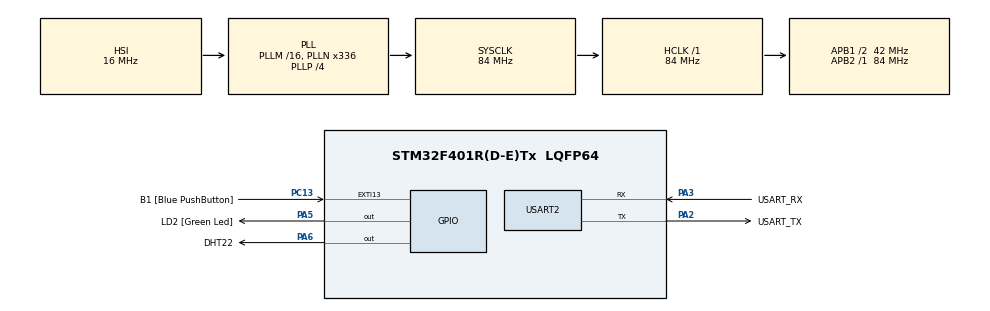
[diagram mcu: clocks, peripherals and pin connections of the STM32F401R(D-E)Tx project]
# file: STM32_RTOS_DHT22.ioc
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Dma.Request0=USART2_TX
Dma.USART2_TX.0.Direction=DMA_MEMORY_TO_PERIPH
Dma.USART2_TX.0.FIFOMode=DMA_FIFOMODE_DISABLE
Dma.USART2_TX.0.Instance=DMA1_Stream6
Dma.USART2_TX.0.MemDataAlignment=DMA_MDATAALIGN_BYTE
Dma.USART2_TX.0.MemInc=DMA_MINC_ENABLE
Dma.USART2_TX.0.Mode=DMA_NORMAL
Dma.USART2_TX.0.PeriphDataAlignment=DMA_PDATAALIGN_BYTE
Dma.USART2_TX.0.PeriphInc=DMA_PINC_DISABLE
Dma.USART2_TX.0.Priority=DMA_PRIORITY_LOW
FREERTOS.Tasks01=defaultTask,0,128,StartDefaultTask,Default,NULL,Dynamic,NULL,NULL
FREERTOS.configUSE_NEWLIB_REENTRANT=1
IWDG.Prescaler=IWDG_PRESCALER_32
IWDG.Reload=3000
Mcu.Family=STM32F4
Mcu.Name=STM32F401R(D-E)Tx
Mcu.Package=LQFP64
NVIC.DMA1_Stream6_IRQn=true\:5\:0\:false\:false\:true\:true\:false\:true\:true
NVIC.PriorityGroup=NVIC_PRIORITYGROUP_4
NVIC.TIM1_UP_TIM10_IRQn=true\:15\:0\:false\:false\:true\:false\:false\:true\:true
NVIC.TimeBase=TIM1_UP_TIM10_IRQn
NVIC.TimeBaseIP=TIM1
NVIC.USART2_IRQn=true\:5\:0\:false\:false\:true\:true\:true\:true\:true
PA13.GPIO_Label=TMS
PA13.Mode=Serial_Wire
PA13.Signal=SYS_JTMS-SWDIO
PA14.GPIO_Label=TCK
PA14.Mode=Serial_Wire
PA14.Signal=SYS_JTCK-SWCLK
PA2.GPIO_Label=USART_TX
PA2.GPIO_Mode=GPIO_MODE_AF_PP
PA2.GPIO_PuPd=GPIO_NOPULL
PA2.GPIO_Speed=GPIO_SPEED_FREQ_LOW
PA2.Mode=Asynchronous
PA2.Signal=USART2_TX
PA3.GPIO_Label=USART_RX
PA3.GPIO_Mode=GPIO_MODE_AF_PP
PA3.GPIO_PuPd=GPIO_NOPULL
PA3.GPIO_Speed=GPIO_SPEED_FREQ_LOW
PA3.Mode=Asynchronous
PA3.Signal=USART2_RX
PA5.GPIO_Label=LD2 [Green Led]
PA5.GPIO_Mode=GPIO_MODE_OUTPUT_PP
PA5.GPIO_PuPd=GPIO_NOPULL
PA5.GPIO_Speed=GPIO_SPEED_FREQ_LOW
PA5.Signal=GPIO_Output
PA6.GPIO_Label=DHT22
PA6.GPIO_Speed=GPIO_SPEED_FREQ_VERY_HIGH
PA6.PinState=GPIO_PIN_SET
PA6.Signal=GPIO_Output
PB3.GPIO_Label=SWO
PB3.Signal=SYS_JTDO-SWO
PC13-ANTI_TAMP.GPIO_Label=B1 [Blue PushButton]
PC13-ANTI_TAMP.GPIO_ModeDefaultEXTI=GPIO_MODE_IT_FALLING
PC13-ANTI_TAMP.GPIO_PuPd=GPIO_NOPULL
PC13-ANTI_TAMP.Signal=GPXTI13
PC14-OSC32_IN.Signal=RCC_OSC32_IN
PC15-OSC32_OUT.Signal=RCC_OSC32_OUT
PH0\ -\ OSC_IN.Signal=RCC_OSC_IN
PH1\ -\ OSC_OUT.Signal=RCC_OSC_OUT
ProjectManager.HeapSize=0x200
ProjectManager.StackSize=0x400
ProjectManager.TargetToolchain=STM32CubeIDE
RCC.AHBFreq_Value=84000000
RCC.APB1CLKDivider=RCC_HCLK_DIV2
RCC.APB1Freq_Value=42000000
RCC.APB1TimFreq_Value=84000000
RCC.APB2Freq_Value=84000000
RCC.APB2TimFreq_Value=84000000
RCC.CortexFreq_Value=84000000
RCC.HCLKFreq_Value=84000000
RCC.HSE_VALUE=8000000
RCC.HSI_VALUE=16000000
RCC.LSE_VALUE=32768
RCC.PLLN=336
RCC.PLLP=RCC_PLLP_DIV4
RCC.PLLQ=7
RCC.SYSCLKFreq_VALUE=84000000
RCC.SYSCLKSource=RCC_SYSCLKSOURCE_PLLCLK
RCC.VCOOutputFreq_Value=336000000
USART2.VirtualMode=VM_ASYNC
VP_FREERTOS_VS_CMSIS_V1.Mode=CMSIS_V1
VP_IWDG_VS_IWDG.Mode=IWDG_Activate
VP_SYS_VS_tim1.Mode=TIM1
board=NUCLEO-F401RE

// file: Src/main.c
/* USER CODE BEGIN Header */
/**
  ******************************************************************************
  * @file           : main.c
  * @brief          : Main program body
  ******************************************************************************
  */
/* USER CODE END Header */
#include "main.h"
#include "cmsis_os.h"

/* USER CODE BEGIN Includes */
#include "dht22.h"
#include "sensor_task.h"
#include "uart_task.h"
#include <stdio.h>
#include "watchdog_task.h"
/* USER CODE END Includes */

IWDG_HandleTypeDef hiwdg;

UART_HandleTypeDef huart2;
DMA_HandleTypeDef hdma_usart2_tx;

osThreadId defaultTaskHandle;
/* USER CODE BEGIN PV */
QueueHandle_t      xSensorQueue;
EventGroupHandle_t xCheckinEG;
SemaphoreHandle_t  xUartTxDoneSem;
/* USER CODE END PV */

void SystemClock_Config(void);
static void MX_GPIO_Init(void);
static void MX_DMA_Init(void);
static void MX_IWDG_Init(void);
static void MX_USART2_UART_Init(void);
void StartDefaultTask(void const * argument);

/* USER CODE BEGIN 0 */
int __io_putchar(int ch)
{
    HAL_UART_Transmit(&huart2, (uint8_t *)&ch, 1, HAL_MAX_DELAY);
    return ch;
}
/* USER CODE END 0 */

int main(void)
{

  /* MCU Configuration--------------------------------------------------------*/

  /* Reset of all peripherals, Initializes the Flash interface and the Systick. */
  HAL_Init();

  /* Configure the system clock */
  SystemClock_Config();

  /* Initialize all configured peripherals */
  MX_GPIO_Init();
  MX_DMA_Init();
  MX_IWDG_Init();
  MX_USART2_UART_Init();
  /* USER CODE BEGIN 2 */

  /* Refresh IWDG immediately — before any long init */
  HAL_IWDG_Refresh(&hiwdg);

  /* DHT22 init — DWT enable + 1s stabilisation */
  DHT22_Init();

  /* Refresh again — DHT22_Init() took 1s */
  HAL_IWDG_Refresh(&hiwdg);

  /* Create RTOS objects */
  xSensorQueue = xQueueCreate(4, sizeof(DHT22_Data_t));
  xCheckinEG   = xEventGroupCreate();

  configASSERT(xSensorQueue != NULL);
  configASSERT(xCheckinEG   != NULL);

  /* Create tasks */
  xTaskCreate(vSensorTask, "SensorTask", 256, NULL, 2, NULL);
  xTaskCreate(vUartTask,   "UartTask",   256, NULL, 1, NULL);
  xTaskCreate(vWatchdogTask, "WatchdogTask", 128, NULL, 3, NULL);

  xUartTxDoneSem = xSemaphoreCreateBinary();
  configASSERT(xUartTxDoneSem != NULL);

  printf("STM32_RTOS_DHT22 starting...\r\n");

  /* USER CODE END 2 */

  /* Create the thread(s) */
  /* definition and creation of defaultTask */
  osThreadDef(defaultTask, StartDefaultTask, osPriorityNormal, 0, 128);
  defaultTaskHandle = osThreadCreate(osThread(defaultTask), NULL);

  /* Start scheduler */
  osKernelStart();

  /* We should never get here as control is now taken by the scheduler */

  /* Infinite loop */
  while (1)
  {

  }
}

void SystemClock_Config(void)
{
  RCC_OscInitTypeDef RCC_OscInitStruct = {0};
  RCC_ClkInitTypeDef RCC_ClkInitStruct = {0};

  /** Configure the main internal regulator output voltage
  */
  __HAL_RCC_PWR_CLK_ENABLE();
  __HAL_PWR_VOLTAGESCALING_CONFIG(PWR_REGULATOR_VOLTAGE_SCALE2);

  /** Initializes the RCC Oscillators according to the specified parameters
  * in the RCC_OscInitTypeDef structure.
  */
  RCC_OscInitStruct.OscillatorType = RCC_OSCILLATORTYPE_HSI|RCC_OSCILLATORTYPE_LSI;
  RCC_OscInitStruct.HSIState = RCC_HSI_ON;
  RCC_OscInitStruct.HSICalibrationValue = RCC_HSICALIBRATION_DEFAULT;
  RCC_OscInitStruct.LSIState = RCC_LSI_ON;
  RCC_OscInitStruct.PLL.PLLState = RCC_PLL_ON;
  RCC_OscInitStruct.PLL.PLLSource = RCC_PLLSOURCE_HSI;
  RCC_OscInitStruct.PLL.PLLM = 16;
  RCC_OscInitStruct.PLL.PLLN = 336;
  RCC_OscInitStruct.PLL.PLLP = RCC_PLLP_DIV4;
  RCC_OscInitStruct.PLL.PLLQ = 7;
  if (HAL_RCC_OscConfig(&RCC_OscInitStruct) != HAL_OK)
  {
    Error_Handler();
  }

  /** Initializes the CPU, AHB and APB buses clocks
  */
  RCC_ClkInitStruct.ClockType = RCC_CLOCKTYPE_HCLK|RCC_CLOCKTYPE_SYSCLK
                              |RCC_CLOCKTYPE_PCLK1|RCC_CLOCKTYPE_PCLK2;
  RCC_ClkInitStruct.SYSCLKSource = RCC_SYSCLKSOURCE_PLLCLK;
  RCC_ClkInitStruct.AHBCLKDivider = RCC_SYSCLK_DIV1;
  RCC_ClkInitStruct.APB1CLKDivider = RCC_HCLK_DIV2;
  RCC_ClkInitStruct.APB2CLKDivider = RCC_HCLK_DIV1;

  if (HAL_RCC_ClockConfig(&RCC_ClkInitStruct, FLASH_LATENCY_2) != HAL_OK)
  {
    Error_Handler();
  }
}

static void MX_IWDG_Init(void)
{

  hiwdg.Instance = IWDG;
  hiwdg.Init.Prescaler = IWDG_PRESCALER_32;
  hiwdg.Init.Reload = 3000;
  if (HAL_IWDG_Init(&hiwdg) != HAL_OK)
  {
    Error_Handler();
  }

}

static void MX_USART2_UART_Init(void)
{

  huart2.Instance = USART2;
  huart2.Init.BaudRate = 115200;
  huart2.Init.WordLength = UART_WORDLENGTH_8B;
  huart2.Init.StopBits = UART_STOPBITS_1;
  huart2.Init.Parity = UART_PARITY_NONE;
  huart2.Init.Mode = UART_MODE_TX_RX;
  huart2.Init.HwFlowCtl = UART_HWCONTROL_NONE;
  huart2.Init.OverSampling = UART_OVERSAMPLING_16;
  if (HAL_UART_Init(&huart2) != HAL_OK)
  {
    Error_Handler();
  }

}

static void MX_DMA_Init(void)
{

  /* DMA controller clock enable */
  __HAL_RCC_DMA1_CLK_ENABLE();

  /* DMA interrupt init */
  /* DMA1_Stream6_IRQn interrupt configuration */
  HAL_NVIC_SetPriority(DMA1_Stream6_IRQn, 5, 0);
  HAL_NVIC_EnableIRQ(DMA1_Stream6_IRQn);

}

static void MX_GPIO_Init(void)
{
  GPIO_InitTypeDef GPIO_InitStruct = {0};

  /* GPIO Ports Clock Enable */
  __HAL_RCC_GPIOC_CLK_ENABLE();
  __HAL_RCC_GPIOH_CLK_ENABLE();
  __HAL_RCC_GPIOA_CLK_ENABLE();
  __HAL_RCC_GPIOB_CLK_ENABLE();

  /*Configure GPIO pin Output Level */
  HAL_GPIO_WritePin(LD2_GPIO_Port, LD2_Pin, GPIO_PIN_RESET);

  /*Configure GPIO pin Output Level */
  HAL_GPIO_WritePin(DHT22_GPIO_Port, DHT22_Pin, GPIO_PIN_SET);

  /*Configure GPIO pin : B1_Pin */
  GPIO_InitStruct.Pin = B1_Pin;
  GPIO_InitStruct.Mode = GPIO_MODE_IT_FALLING;
  GPIO_InitStruct.Pull = GPIO_NOPULL;
  HAL_GPIO_Init(B1_GPIO_Port, &GPIO_InitStruct);

  /*Configure GPIO pin : LD2_Pin */
  GPIO_InitStruct.Pin = LD2_Pin;
  GPIO_InitStruct.Mode = GPIO_MODE_OUTPUT_PP;
  GPIO_InitStruct.Pull = GPIO_NOPULL;
  GPIO_InitStruct.Speed = GPIO_SPEED_FREQ_LOW;
  HAL_GPIO_Init(LD2_GPIO_Port, &GPIO_InitStruct);

  /*Configure GPIO pin : DHT22_Pin */
  GPIO_InitStruct.Pin = DHT22_Pin;
  GPIO_InitStruct.Mode = GPIO_MODE_OUTPUT_PP;
  GPIO_InitStruct.Pull = GPIO_NOPULL;
  GPIO_InitStruct.Speed = GPIO_SPEED_FREQ_VERY_HIGH;
  HAL_GPIO_Init(DHT22_GPIO_Port, &GPIO_InitStruct);

}

/* USER CODE BEGIN 4 */

/* USER CODE BEGIN 4 */
void HAL_UART_TxCpltCallback(UART_HandleTypeDef *huart)
{
    if (huart->Instance == USART2)
    {
        BaseType_t xHigherPriorityTaskWoken = pdFALSE;
        xSemaphoreGiveFromISR(xUartTxDoneSem, &xHigherPriorityTaskWoken);
        portYIELD_FROM_ISR(xHigherPriorityTaskWoken);
    }
}
/* USER CODE END 4 */
/* USER CODE END 4 */

void StartDefaultTask(void const * argument)
{
  for(;;)
  {
    osDelay(1);
  }
}

void HAL_TIM_PeriodElapsedCallback(TIM_HandleTypeDef *htim)
{
  if (htim->Instance == TIM1)
  {
    HAL_IncTick();
  }
}

void Error_Handler(void)
{
  __disable_irq();
  while (1) {}
}
